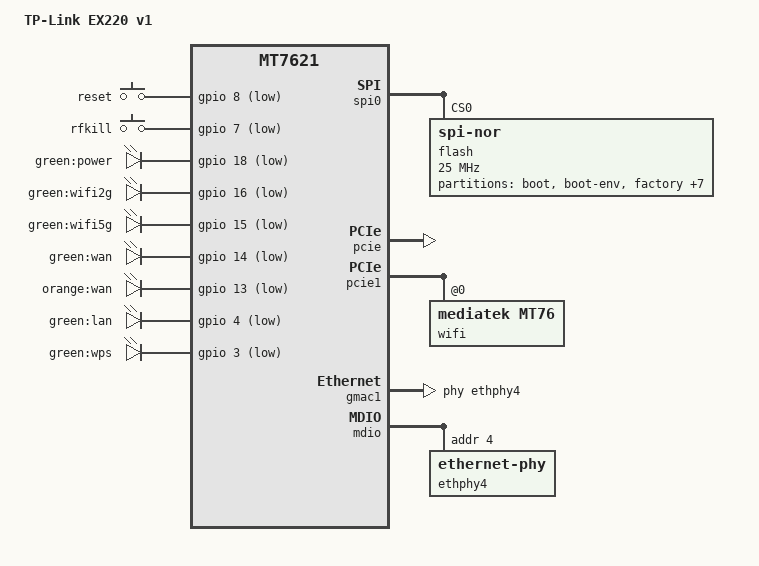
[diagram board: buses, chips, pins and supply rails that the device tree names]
// SPDX-License-Identifier: GPL-2.0-or-later OR MIT

#include "mt7621.dtsi"

#include <dt-bindings/gpio/gpio.h>
#include <dt-bindings/input/input.h>

/ {
	compatible = "tplink,ex220-v1", "mediatek,mt7621-soc";
	model = "TP-Link EX220 v1";

	aliases {
		led-boot = &led_power;
		led-failsafe = &led_power;
		led-running = &led_power;
		led-upgrade = &led_power;
		label-mac-device = &gmac0;
	};

	chosen {
		bootargs = "console=ttyS0,115200";
	};

	keys {
		compatible = "gpio-keys";

		reset {
			label = "reset";
			gpios = <&gpio 8 GPIO_ACTIVE_LOW>;
			linux,code = <KEY_RESTART>;
		};

		wps {
			label = "rfkill";
			gpios = <&gpio 7 GPIO_ACTIVE_LOW>;
			linux,code = <KEY_RFKILL>;
		};
	};

	leds {
		compatible = "gpio-leds";

		led_power: power {
			label = "green:power";
			gpios = <&gpio 18 GPIO_ACTIVE_LOW>;
		};

		wifi2g {
			label = "green:wifi2g";
			gpios = <&gpio 16 GPIO_ACTIVE_LOW>;
			linux,default-trigger = "phy0tpt";
		};

		wifi5g {
			label = "green:wifi5g";
			gpios = <&gpio 15 GPIO_ACTIVE_LOW>;
			linux,default-trigger = "phy1tpt";
		};

		wan-green {
			label = "green:wan";
			gpios = <&gpio 14 GPIO_ACTIVE_LOW>;
		};

		wan-orange {
			label = "orange:wan";
			gpios = <&gpio 13 GPIO_ACTIVE_LOW>;
		};

		lan {
			label = "green:lan";
			gpios = <&gpio 4 GPIO_ACTIVE_LOW>;
		};

		wps {
			label = "green:wps";
			gpios = <&gpio 3 GPIO_ACTIVE_LOW>;
		};
	};
};

&spi0 {
	status = "okay";

	flash@0 {
		compatible = "jedec,spi-nor";
		reg = <0>;
		spi-max-frequency = <25000000>;

		partitions {
			compatible = "fixed-partitions";
			#address-cells = <1>;
			#size-cells = <1>;

			partition@0 {
				label = "boot";
				reg = <0x00 0x30000>;
				read-only;
			};

			partition@30000 {
				label = "boot-env";
				reg = <0x30000 0x10000>;
				read-only;
			};

			partition@40000 {
				label = "factory";
				reg = <0x40000 0x10000>;
				read-only;
			};

			partition@50000 {
				label = "config";
				reg = <0x50000 0x10000>;
				read-only;
			};

			partition@60000 {
				label = "isp_config";
				reg = <0x60000 0x10000>;
				read-only;
			};

			rom_file: partition@70000 {
				label = "rom_file";
				reg = <0x70000 0x10000>;
				read-only;
			};

			partition@80000 {
				label = "cloud";
				reg = <0x80000 0x10000>;
				read-only;
			};

			radio: partition@90000 {
				label = "radio";
				reg = <0x90000 0x20000>;
				read-only;
			};

			partition@b0000 {
				label = "config_bak";
				reg = <0xb0000 0x10000>;
				read-only;
			};

			partition@c0000 {
				compatible = "denx,fit";
				label = "firmware";
				reg = <0xc0000 0xf30000>;
			};
		};
	};
};

&pcie {
	status = "okay";
};

&pcie1 {
	wifi@0,0 {
		compatible = "mediatek,mt76";
		reg = <0x0000 0 0 0 0>;
		mediatek,mtd-eeprom = <&radio 0x0>;
		nvmem-cells = <&macaddr_rom_file_f100>;
		nvmem-cell-names = "mac-address";
		mediatek,disable-radar-background;
	};
};

&gmac0 {
	nvmem-cells = <&macaddr_rom_file_f100>;
	nvmem-cell-names = "mac-address";
};

&gmac1 {
	status = "okay";
	label = "wan";
	phy-handle = <&ethphy4>;

	nvmem-cells = <&macaddr_rom_file_f100>;
	nvmem-cell-names = "mac-address";
	mac-address-increment = <1>;
};

&mdio {
	ethphy4: ethernet-phy@4 {
		reg = <4>;
	};
};

&switch0 {
	ports {
		port@0 {
			status = "okay";
			label = "lan1";
		};

		port@1 {
			status = "okay";
			label = "lan2";
		};

		port@2 {
			status = "okay";
			label = "lan3";
		};

		port@3 {
			status = "okay";
			label = "lan4";
		};
	};
};

&state_default {
	gpio {
		groups = "i2c", "uart3", "jtag", "wdt";
		function = "gpio";
	};
};

&rom_file {
	compatible = "nvmem-cells";
	#address-cells = <1>;
	#size-cells = <1>;

	macaddr_rom_file_f100: macaddr@f100 {
		reg = <0xf100 0x6>;
	};
};
